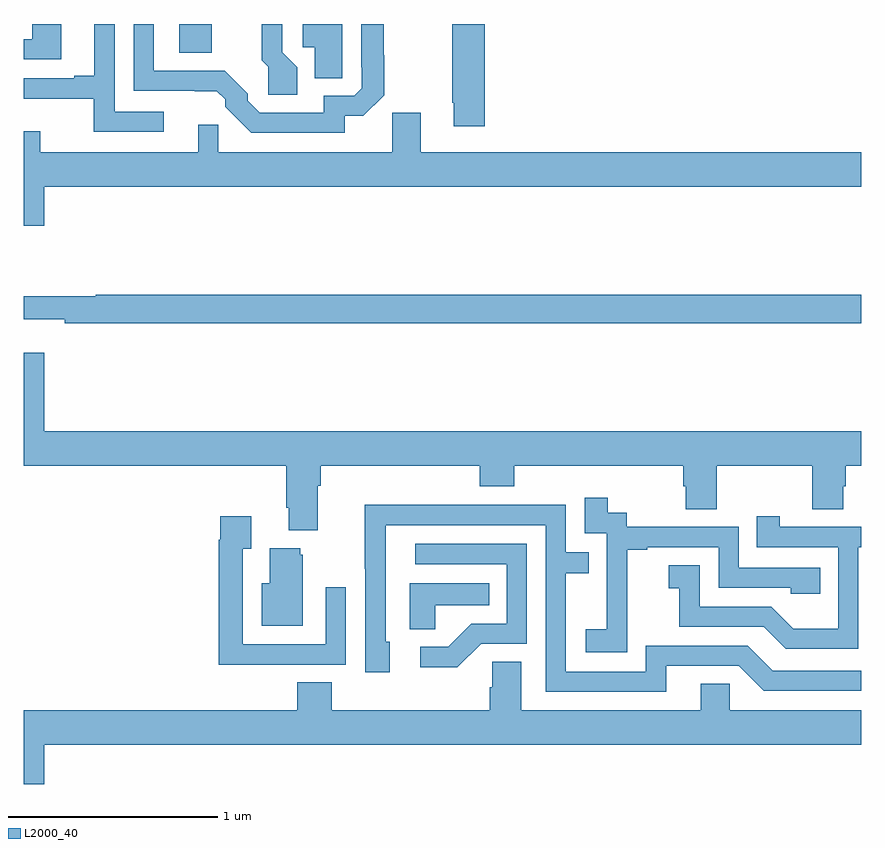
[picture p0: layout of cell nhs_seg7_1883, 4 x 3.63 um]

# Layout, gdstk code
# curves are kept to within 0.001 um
import gdstk
lib = gdstk.Library(unit=1e-6, precision=1e-09)
def P(c, l, *ps):  # polygons
    for p in ps: c.add(gdstk.Polygon(p, *l))
L2000_40 = (2000, 40)

nhs_seg7_1883 = lib.new_cell('nhs_seg7_1883')
P(nhs_seg7_1883, L2000_40, [(238.306,1059.794),(238.236,1059.864),(238.236,1060),(238.138,1060),(238.138,1059.826),(238.167,1059.797),(238.167,1059.663),(238.306,1059.663)],
  [(237.898,1060),(237.746,1060),(237.744,1059.998),(237.744,1059.862),(237.898,1059.862)],
  [(237.181,1060),(237.041,1060),(237.041,1059.927),(237,1059.927),(237,1059.831),(237.181,1059.831)],
  [(238.521,1060),(238.332,1060),(238.332,1059.89),(238.391,1059.89),(238.391,1059.742),(238.521,1059.742)],
  [(238.533,1059.561),(238.622,1059.561),(238.722,1059.66),(238.722,1059.851),(238.72,1059.851),(238.72,1060),(238.611,1060),(238.611,1059.793),(238.614,1059.793),(238.614,1059.693),(238.578,1059.657),(238.434,1059.657),(238.434,1059.576),(238.128,1059.576),(238.071,1059.633),(238.071,1059.667),(237.961,1059.777),(237.621,1059.777),(237.621,1060),(237.525,1060),(237.525,1059.681),(237.922,1059.68),(237.963,1059.64),(237.963,1059.605),(238.088,1059.48),(238.533,1059.48)],
  [(239.201,1060),(239.047,1060),(239.047,1059.625),(239.054,1059.625),(239.054,1059.513),(239.201,1059.513)],
  [(237.67,1059.582),(237.435,1059.582),(237.435,1060),(237.338,1060),(237.338,1059.754),(237.242,1059.754),(237.242,1059.741),(237,1059.741),(237,1059.644),(237.334,1059.644),(237.334,1059.486),(237.67,1059.486)],
  [(237.1,1059.224),(241,1059.224),(241,1059.388),(238.897,1059.388),(238.897,1059.576),(238.759,1059.576),(238.759,1059.388),(237.929,1059.388),(237.929,1059.518),(237.833,1059.518),(237.833,1059.388),(237.079,1059.388),(237.079,1059.487),(237,1059.487),(237,1059.036),(237.1,1059.036)],
  [(241,1058.708),(237.345,1058.708),(237.345,1058.701),(237,1058.701),(237,1058.591),(237.196,1058.591),(237.196,1058.572),(241,1058.572)],
  [(238.405,1057.796),(238.418,1057.796),(238.418,1057.892),(239.177,1057.892),(239.177,1057.793),(239.342,1057.793),(239.342,1057.892),(240.149,1057.892),(240.149,1057.794),(240.161,1057.794),(240.161,1057.684),(240.309,1057.684),(240.309,1057.892),(240.766,1057.892),(240.766,1057.684),(240.913,1057.684),(240.913,1057.794),(240.926,1057.794),(240.926,1057.892),(241,1057.892),(241,1058.056),(237.1,1058.056),(237.1,1058.431),(237,1058.431),(237,1057.892),(238.253,1057.892),(238.253,1057.69),(238.265,1057.69),(238.265,1057.583),(238.405,1057.583)],
  [(239.883,1057.207),(239.882,1057.207),(239.882,1057.491),(239.977,1057.491),(239.977,1057.503),(240.318,1057.503),(240.318,1057.308),(240.663,1057.308),(240.663,1057.281),(240.803,1057.281),(240.803,1057.404),(240.414,1057.404),(240.414,1057.599),(239.88,1057.599),(239.88,1057.668),(239.788,1057.668),(239.788,1057.738),(239.679,1057.738),(239.679,1057.569),(239.784,1057.569),(239.784,1057.34),(239.783,1057.34),(239.783,1057.111),(239.685,1057.111),(239.685,1057.001),(239.883,1057.001)],
  [(240.067,1056.936),(240.414,1056.936),(240.534,1056.816),(241,1056.816),(241,1056.912),(240.576,1056.912),(240.456,1057.032),(239.97,1057.032),(239.97,1056.909),(239.589,1056.909),(239.589,1057.378),(239.699,1057.378),(239.699,1057.479),(239.589,1057.479),(239.589,1057.704),(239.093,1057.704),(239.093,1057.706),(238.63,1057.706),(238.63,1057.399),(238.632,1057.399),(238.632,1056.906),(238.747,1056.906),(238.747,1057.05),(238.728,1057.05),(238.728,1057.608),(239.493,1057.608),(239.493,1056.813),(240.067,1056.813)],
  [(240.984,1057.503),(241,1057.503),(241,1057.599),(240.61,1057.599),(240.61,1057.651),(240.499,1057.651),(240.499,1057.503),(240.888,1057.503),(240.888,1057.114),(240.674,1057.114),(240.57,1057.218),(240.228,1057.218),(240.228,1057.417),(240.081,1057.417),(240.081,1057.307),(240.13,1057.307),(240.13,1057.122),(240.533,1057.122),(240.638,1057.017),(240.984,1057.017)],
  [(238.223,1056.942),(238.539,1056.942),(238.539,1057.312),(238.443,1057.312),(238.443,1057.038),(238.047,1057.038),(238.047,1057.495),(238.087,1057.495),(238.087,1057.651),(237.939,1057.651),(237.939,1057.538),(237.931,1057.538),(237.931,1056.941),(238.223,1056.941)],
  [(239.184,1057.041),(239.403,1057.041),(239.403,1057.518),(238.869,1057.518),(238.869,1057.422),(239.307,1057.422),(239.307,1057.137),(239.138,1057.137),(239.027,1057.026),(238.893,1057.026),(238.893,1056.929),(239.071,1056.929)],
  [(238.333,1057.467),(238.322,1057.467),(238.322,1057.498),(238.175,1057.498),(238.175,1057.33),(238.136,1057.33),(238.136,1057.127),(238.333,1057.127)],
  [(238.965,1057.226),(239.222,1057.226),(239.222,1057.33),(238.844,1057.33),(238.844,1057.111),(238.965,1057.111)],
  [(237.1,1056.56),(241,1056.56),(241,1056.724),(240.372,1056.724),(240.372,1056.851),(240.233,1056.851),(240.233,1056.724),(239.377,1056.724),(239.377,1056.956),(239.238,1056.956),(239.238,1056.833),(239.225,1056.833),(239.225,1056.724),(238.472,1056.724),(238.472,1056.857),(238.307,1056.857),(238.307,1056.724),(237,1056.724),(237,1056.372),(237.1,1056.372)])

lib.write_gds('nhs_seg7_1883.gds')
